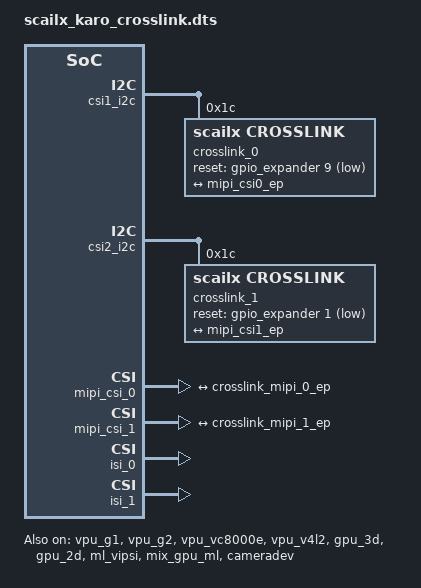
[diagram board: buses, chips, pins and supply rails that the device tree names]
// SPDX-License-Identifier: (GPL-2.0 OR MIT)
/*
 * Copyright (C) 2021 Markus Bauer <mb@karo-electronics.de>
 *
 */

/dts-v1/;

#include "scailx_karo.dtsi"

&csi1_i2c {
	crosslink_0: crosslink_mipi_0@1c {
		compatible = "scailx,crosslink";
		reg = <0x1c>;
		csi_id = <0>;
		reset-gpios = <&gpio_expander 9 GPIO_ACTIVE_LOW>;
		status = "okay";
		mipi_csi;

		port {
			crosslink_mipi_0_ep: endpoint {
				remote-endpoint = <&mipi_csi0_ep>;
				data-lanes = <1 2 3 4>;
				clock-lanes = <0>;
			};
		};
	};
};

&csi2_i2c {
	crosslink_1: crosslink_mipi_1@1c {
		compatible = "scailx,crosslink";
		reg = <0x1c>;
		csi_id = <1>;
		reset-gpios = <&gpio_expander 1 GPIO_ACTIVE_LOW>;
		status = "okay";
		mipi_csi;
		visca-port = <&gpio_b_uart>;

		port {
			crosslink_mipi_1_ep: endpoint {
				remote-endpoint = <&mipi_csi1_ep>;
				data-lanes = <1 2 3 4>;
				clock-lanes = <0>;
			};
		};
	};
};

&vpu_g1 {
	status = "okay";
};

&vpu_g2 {
	status = "okay";
};

&vpu_vc8000e {
	status = "okay";
};

&vpu_v4l2 {
	status = "okay";
};

&gpu_3d {
	status = "okay";
};

&gpu_2d {
	status = "okay";
};

&ml_vipsi {
	status = "okay";
};

&mix_gpu_ml {
	status = "okay";
};

&mipi_csi_0 {
	#address-cells = <1>;
	#size-cells = <0>;
	clock-frequency = <297000000>;
	status = "okay";

	port@0 {
		reg = <0>;
		mipi_csi0_ep: endpoint {
			remote-endpoint = <&crosslink_mipi_0_ep>;
			data-lanes = <4>;
			csis-hs-settle = <13>;
			csis-clk-settle = <2>;
			csis-wclk;
		};
	};
};

&mipi_csi_1 {
	#address-cells = <1>;
	#size-cells = <0>;
	clock-frequency = <297000000>;
	status = "okay";

	port@1 {
		reg = <1>;
		mipi_csi1_ep: endpoint {
			remote-endpoint = <&crosslink_mipi_1_ep>;
			data-lanes = <4>;
			csis-hs-settle = <13>;
			csis-clk-settle = <2>;
			csis-wclk;
		};
	};
};

&cameradev {
	status = "okay";
};

&isi_0 {
	status = "okay";

	cap_device {
		status = "okay";
	};

	m2m_device {
		status = "okay";
	};
};

&isi_1 {
	status = "okay";

	cap_device {
		status = "okay";
	};
};

&isp_0 {
    status = "disabled";
};

&isp_1 {
	status = "disabled";
};

&dewarp {
    status = "disabled";
};

&iomuxc {
	// pinctrl_csi0_rst: csi0_rst_grp {
	// 	fsl,pins = <
	// 		MX8MP_IOMUXC_SAI2_TXFS__GPIO4_IO24		0x19
	// 	>;
	// };
};
